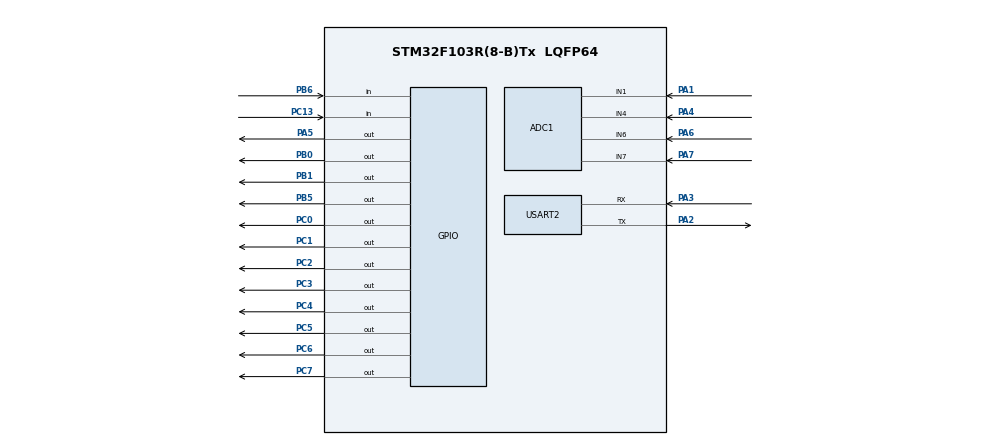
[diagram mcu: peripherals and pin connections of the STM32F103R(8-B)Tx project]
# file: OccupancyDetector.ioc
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ADC1.Channel-20\#ChannelRegularConversion=ADC_CHANNEL_7
ADC1.Channel-21\#ChannelRegularConversion=ADC_CHANNEL_4
ADC1.Channel-23\#ChannelRegularConversion=ADC_CHANNEL_1
ADC1.Channel-24\#ChannelRegularConversion=ADC_CHANNEL_1
ADC1.ContinuousConvMode=ENABLE
ADC1.NbrOfConversion=4
ADC1.NbrOfConversionFlag=1
ADC1.Rank-20\#ChannelRegularConversion=1
ADC1.Rank-21\#ChannelRegularConversion=2
ADC1.Rank-23\#ChannelRegularConversion=3
ADC1.Rank-24\#ChannelRegularConversion=4
ADC1.SamplingTime-20\#ChannelRegularConversion=ADC_SAMPLETIME_1CYCLE_5
ADC1.SamplingTime-21\#ChannelRegularConversion=ADC_SAMPLETIME_1CYCLE_5
ADC1.SamplingTime-23\#ChannelRegularConversion=ADC_SAMPLETIME_1CYCLE_5
ADC1.SamplingTime-24\#ChannelRegularConversion=ADC_SAMPLETIME_1CYCLE_5
ADC1.master=1
FREERTOS.Queues01=structQueue,1,struct DataStruct,0,Dynamic,NULL,NULL;rawQueue,1,struct DataStruct,0,Dynamic,NULL,NULL;roomQueue,1,uint16_t,0,Dynamic,NULL,NULL
FREERTOS.Tasks01=calcTask,24,128,StartCalcTask,Default,NULL,Dynamic,NULL,NULL;sendTask,40,128,StartSendTask,Default,NULL,Dynamic,NULL,NULL;lcdTask,8,128,StartLcdTask,Default,NULL,Dynamic,NULL,NULL
Mcu.Family=STM32F1
Mcu.Name=STM32F103R(8-B)Tx
Mcu.Package=LQFP64
NVIC.PriorityGroup=NVIC_PRIORITYGROUP_4
NVIC.TIM4_IRQn=true\:0\:0\:false\:false\:true\:false\:false\:true
NVIC.TimeBase=TIM4_IRQn
NVIC.TimeBaseIP=TIM4
PA1.Signal=ADCx_IN1
PA13.Mode=Serial_Wire
PA13.Signal=SYS_JTMS-SWDIO
PA14.Mode=Serial_Wire
PA14.Signal=SYS_JTCK-SWCLK
PA2.Mode=Asynchronous
PA2.Signal=USART2_TX
PA3.Mode=Asynchronous
PA3.Signal=USART2_RX
PA4.Signal=ADCx_IN4
PA5.Signal=GPIO_Output
PA6.Signal=ADCx_IN6
PA7.Signal=ADCx_IN7
PB0.Signal=GPIO_Output
PB1.Signal=GPIO_Output
PB5.Signal=GPIO_Output
PB6.Signal=GPIO_Input
PC0.Signal=GPIO_Output
PC1.Signal=GPIO_Output
PC13-TAMPER-RTC.Signal=GPIO_Input
PC2.Signal=GPIO_Output
PC3.Signal=GPIO_Output
PC4.Signal=GPIO_Output
PC5.Signal=GPIO_Output
PC6.Signal=GPIO_Output
PC7.Signal=GPIO_Output
ProjectManager.HeapSize=0x200
ProjectManager.StackSize=0x400
ProjectManager.TargetToolchain=STM32CubeIDE
RCC.APB1Freq_Value=8000000
RCC.APB2Freq_Value=8000000
SH.ADCx_IN1.0=ADC1_IN1,IN1
SH.ADCx_IN4.0=ADC1_IN4,IN4
SH.ADCx_IN6.0=ADC1_IN6,IN6
SH.ADCx_IN7.0=ADC1_IN7,IN7
USART2.VirtualMode=VM_ASYNC
VP_FREERTOS_VS_CMSIS_V2.Mode=CMSIS_V2
VP_SYS_VS_tim4.Mode=TIM4
board=custom

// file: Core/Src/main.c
/* USER CODE BEGIN Header */
/**
  ******************************************************************************
  * @file           : main.c
  * @brief          : Main program body
  * @author			: Daniel Takyi
  * @application	: Room Occupancy Management System
  * @purpose		: Reads various sensor values and sends them formatted in a
  * 				  string to another device. Other features include printind
  * 				  data onto an LCD screen, and user selection control.
  *
  ******************************************************************************
  * @attention
  *
  * <h2><center>&copy; Copyright (c) 2021 STMicroelectronics.
  * All rights reserved.</center></h2>
  *
  * This software component is licensed by ST under Ultimate Liberty license
  * SLA0044, the "License"; You may not use this file except in compliance with
  * the License. You may obtain a copy of the License at:
  *                             www.st.com/SLA0044
  *
  ******************************************************************************
  */
/* USER CODE END Header */
#include "main.h"
#include "cmsis_os.h"

/* USER CODE BEGIN Includes */
#include "stm32f1xx.h"
#include "./usr/lcd.h"
#include "./usr/CommMod.h"
#include "./usr/sensors.h"
#include "./usr/UserInput.h"
#include <stdbool.h>

/* USER CODE END Includes */

ADC_HandleTypeDef hadc1;

UART_HandleTypeDef huart2;

/* Definitions for calcTask */
osThreadId_t calcTaskHandle;
const osThreadAttr_t calcTask_attributes = {
  .name = "calcTask",
  .priority = (osPriority_t) osPriorityNormal,
  .stack_size = 128 * 4
};
/* Definitions for sendTask */
osThreadId_t sendTaskHandle;
const osThreadAttr_t sendTask_attributes = {
  .name = "sendTask",
  .priority = (osPriority_t) osPriorityHigh,
  .stack_size = 128 * 4
};
/* Definitions for lcdTask */
osThreadId_t lcdTaskHandle;
const osThreadAttr_t lcdTask_attributes = {
  .name = "lcdTask",
  .priority = (osPriority_t) osPriorityLow,
  .stack_size = 128 * 4
};
/* Definitions for structQueue */
osMessageQueueId_t structQueueHandle;
const osMessageQueueAttr_t structQueue_attributes = {
  .name = "structQueue"
};
/* Definitions for rawQueue */
osMessageQueueId_t rawQueueHandle;
const osMessageQueueAttr_t rawQueue_attributes = {
  .name = "rawQueue"
};
/* Definitions for roomQueue */
osMessageQueueId_t roomQueueHandle;
const osMessageQueueAttr_t roomQueue_attributes = {
  .name = "roomQueue"
};
/* USER CODE BEGIN PV */
//bool sel = true;
//bool proceed = false;
uint8_t room_str[40];
uint8_t cliBufferRX[20];
/* USER CODE END PV */

void SystemClock_Config(void);
static void MX_GPIO_Init(void);
static void MX_USART2_UART_Init(void);
static void MX_ADC1_Init(void);
void StartCalcTask(void *argument);
void StartSendTask(void *argument);
void StartLcdTask(void *argument);

/* USER CODE BEGIN 0 */
struct DataStruct{
	uint16_t temp;
	uint16_t CO2;
	uint16_t dB;
};
/* USER CODE END 0 */

int main(void)
{

  /* MCU Configuration--------------------------------------------------------*/

  /* Reset of all peripherals, Initializes the Flash interface and the Systick. */
  HAL_Init();

  /* Configure the system clock */
  SystemClock_Config();

  /* Initialize all configured peripherals */
  MX_GPIO_Init();
  MX_USART2_UART_Init();
  MX_ADC1_Init();
  /* USER CODE BEGIN 2 */

  lcd_IO_init();

  lcd_init();

  CMD2LCD(0x01);

  char2LCD("use inputs");
  CMD2LCD(0xC0);
  char2LCD("room size: ");
  POT_Select();
  while(HAL_GPIO_ReadPin(GPIOB, GPIO_PIN_6))
  {
	  CMD2LCD(0xCB);
	  strcpy((char *)room_str, roomSelect(ADC_Read()));
	  char2LCD((char *)room_str);

  }

  CMD2LCD(0x01);

  /* USER CODE END 2 */

  /* Init scheduler */
  osKernelInitialize();

  /* Create the queue(s) */
  /* creation of structQueue */
  structQueueHandle = osMessageQueueNew (1, sizeof(struct DataStruct), &structQueue_attributes);

  /* creation of rawQueue */
  rawQueueHandle = osMessageQueueNew (1, sizeof(struct DataStruct), &rawQueue_attributes);

  /* creation of roomQueue */
  roomQueueHandle = osMessageQueueNew (1, sizeof(uint16_t), &roomQueue_attributes);

  /* Create the thread(s) */
  /* creation of calcTask */
  calcTaskHandle = osThreadNew(StartCalcTask, NULL, &calcTask_attributes);

  /* creation of sendTask */
  sendTaskHandle = osThreadNew(StartSendTask, NULL, &sendTask_attributes);

  /* creation of lcdTask */
  lcdTaskHandle = osThreadNew(StartLcdTask, NULL, &lcdTask_attributes);

  /* Start scheduler */
  osKernelStart();

  /* We should never get here as control is now taken by the scheduler */
  /* Infinite loop */
  while (1)
  {

  }
}

void SystemClock_Config(void)
{
  RCC_OscInitTypeDef RCC_OscInitStruct = {0};
  RCC_ClkInitTypeDef RCC_ClkInitStruct = {0};
  RCC_PeriphCLKInitTypeDef PeriphClkInit = {0};

  /** Initializes the RCC Oscillators according to the specified parameters
  * in the RCC_OscInitTypeDef structure.
  */
  RCC_OscInitStruct.OscillatorType = RCC_OSCILLATORTYPE_HSI;
  RCC_OscInitStruct.HSIState = RCC_HSI_ON;
  RCC_OscInitStruct.HSICalibrationValue = RCC_HSICALIBRATION_DEFAULT;
  RCC_OscInitStruct.PLL.PLLState = RCC_PLL_NONE;
  if (HAL_RCC_OscConfig(&RCC_OscInitStruct) != HAL_OK)
  {
    Error_Handler();
  }
  /** Initializes the CPU, AHB and APB buses clocks
  */
  RCC_ClkInitStruct.ClockType = RCC_CLOCKTYPE_HCLK|RCC_CLOCKTYPE_SYSCLK
                              |RCC_CLOCKTYPE_PCLK1|RCC_CLOCKTYPE_PCLK2;
  RCC_ClkInitStruct.SYSCLKSource = RCC_SYSCLKSOURCE_HSI;
  RCC_ClkInitStruct.AHBCLKDivider = RCC_SYSCLK_DIV1;
  RCC_ClkInitStruct.APB1CLKDivider = RCC_HCLK_DIV1;
  RCC_ClkInitStruct.APB2CLKDivider = RCC_HCLK_DIV1;

  if (HAL_RCC_ClockConfig(&RCC_ClkInitStruct, FLASH_LATENCY_0) != HAL_OK)
  {
    Error_Handler();
  }
  PeriphClkInit.PeriphClockSelection = RCC_PERIPHCLK_ADC;
  PeriphClkInit.AdcClockSelection = RCC_ADCPCLK2_DIV2;
  if (HAL_RCCEx_PeriphCLKConfig(&PeriphClkInit) != HAL_OK)
  {
    Error_Handler();
  }
}

static void MX_ADC1_Init(void)
{

  ADC_ChannelConfTypeDef sConfig = {0};

  /** Common config
  */
  hadc1.Instance = ADC1;
  hadc1.Init.ScanConvMode = ADC_SCAN_ENABLE;
  hadc1.Init.ContinuousConvMode = ENABLE;
  hadc1.Init.DiscontinuousConvMode = DISABLE;
  hadc1.Init.ExternalTrigConv = ADC_SOFTWARE_START;
  hadc1.Init.DataAlign = ADC_DATAALIGN_RIGHT;
  hadc1.Init.NbrOfConversion = 1;
  if (HAL_ADC_Init(&hadc1) != HAL_OK)
  {
    Error_Handler();
  }
//  /** Configure Regular Channel
//  */
//  sConfig.Channel = ADC_CHANNEL_7;
//  sConfig.Rank = ADC_REGULAR_RANK_1;
//  sConfig.SamplingTime = ADC_SAMPLETIME_1CYCLE_5;
//  if (HAL_ADC_ConfigChannel(&hadc1, &sConfig) != HAL_OK)
//  {
//    Error_Handler();
//  }
//  /** Configure Regular Channel
//  */
//  sConfig.Channel = ADC_CHANNEL_4;
//  sConfig.Rank = ADC_REGULAR_RANK_2;
//  if (HAL_ADC_ConfigChannel(&hadc1, &sConfig) != HAL_OK)
//  {
//    Error_Handler();
//  }
//  /** Configure Regular Channel
//  */
//  sConfig.Channel = ADC_CHANNEL_1;
//  sConfig.Rank = ADC_REGULAR_RANK_3;
//  if (HAL_ADC_ConfigChannel(&hadc1, &sConfig) != HAL_OK)
//  {
//    Error_Handler();
//  }
//  /** Configure Regular Channel
//  */
//  sConfig.Rank = ADC_REGULAR_RANK_4;
//  if (HAL_ADC_ConfigChannel(&hadc1, &sConfig) != HAL_OK)
//  {
//    Error_Handler();
//  }

}

static void MX_USART2_UART_Init(void)
{

  huart2.Instance = USART2;
  huart2.Init.BaudRate = 115200;
  huart2.Init.WordLength = UART_WORDLENGTH_8B;
  huart2.Init.StopBits = UART_STOPBITS_1;
  huart2.Init.Parity = UART_PARITY_NONE;
  huart2.Init.Mode = UART_MODE_TX_RX;
  huart2.Init.HwFlowCtl = UART_HWCONTROL_NONE;
  huart2.Init.OverSampling = UART_OVERSAMPLING_16;
  if (HAL_UART_Init(&huart2) != HAL_OK)
  {
    Error_Handler();
  }

}

static void MX_GPIO_Init(void)
{
  GPIO_InitTypeDef GPIO_InitStruct = {0};

  /* GPIO Ports Clock Enable */
  __HAL_RCC_GPIOC_CLK_ENABLE();
  __HAL_RCC_GPIOA_CLK_ENABLE();
  __HAL_RCC_GPIOB_CLK_ENABLE();

  /*Configure GPIO pin Output Level */
  HAL_GPIO_WritePin(GPIOC, GPIO_PIN_0|GPIO_PIN_1|GPIO_PIN_2|GPIO_PIN_3
                          |GPIO_PIN_4|GPIO_PIN_5|GPIO_PIN_6|GPIO_PIN_7, GPIO_PIN_RESET);

  /*Configure GPIO pin Output Level */
  HAL_GPIO_WritePin(GPIOA, GPIO_PIN_5, GPIO_PIN_RESET);

  /*Configure GPIO pin Output Level */
  HAL_GPIO_WritePin(GPIOB, GPIO_PIN_0|GPIO_PIN_1|GPIO_PIN_5, GPIO_PIN_RESET);

  /*Configure GPIO pin : PC13 */
  GPIO_InitStruct.Pin = GPIO_PIN_13;
  GPIO_InitStruct.Mode = GPIO_MODE_INPUT;
  GPIO_InitStruct.Pull = GPIO_NOPULL;
  HAL_GPIO_Init(GPIOC, &GPIO_InitStruct);

  /*Configure GPIO pins : PC0 PC1 PC2 PC3
                           PC4 PC5 PC6 PC7 */
  GPIO_InitStruct.Pin = GPIO_PIN_0|GPIO_PIN_1|GPIO_PIN_2|GPIO_PIN_3
                          |GPIO_PIN_4|GPIO_PIN_5|GPIO_PIN_6|GPIO_PIN_7;
  GPIO_InitStruct.Mode = GPIO_MODE_OUTPUT_PP;
  GPIO_InitStruct.Pull = GPIO_NOPULL;
  GPIO_InitStruct.Speed = GPIO_SPEED_FREQ_LOW;
  HAL_GPIO_Init(GPIOC, &GPIO_InitStruct);

  /*Configure GPIO pin : PA5 */
  GPIO_InitStruct.Pin = GPIO_PIN_5;
  GPIO_InitStruct.Mode = GPIO_MODE_OUTPUT_PP;
  GPIO_InitStruct.Pull = GPIO_NOPULL;
  GPIO_InitStruct.Speed = GPIO_SPEED_FREQ_LOW;
  HAL_GPIO_Init(GPIOA, &GPIO_InitStruct);

  /*Configure GPIO pins : PB0 PB1 PB5 */
  GPIO_InitStruct.Pin = GPIO_PIN_0|GPIO_PIN_1|GPIO_PIN_5;
  GPIO_InitStruct.Mode = GPIO_MODE_OUTPUT_PP;
  GPIO_InitStruct.Pull = GPIO_NOPULL;
  GPIO_InitStruct.Speed = GPIO_SPEED_FREQ_LOW;
  HAL_GPIO_Init(GPIOB, &GPIO_InitStruct);

  /*Configure GPIO pin : PB6 */
  GPIO_InitStruct.Pin = GPIO_PIN_6;
  GPIO_InitStruct.Mode = GPIO_MODE_INPUT;
  GPIO_InitStruct.Pull = GPIO_NOPULL;
  HAL_GPIO_Init(GPIOB, &GPIO_InitStruct);

}

void StartCalcTask(void *argument)
{
  /* USER CODE BEGIN 5 */
	//uint16_t data = 0;
	struct DataStruct dc;
	dc.temp = 0;
	dc.CO2 = 0;
	dc.dB = 0;
	/* Infinite loop */
	for(;;)
	{
		TEMP_Select();
		dc.temp = TempConversion(ADC_Read());

		CO2_Select();
		dc.CO2 = CO2Conversion(ADC_Read());

		NOISE_Select();
		dc.dB = NoiseConversion(ADC_Read());

		if(osMessageQueuePut(rawQueueHandle, &dc, 1U, 0U) != osOK)
		{
			Error_Handler();
		}

		//OccupancyCalculation()

		if(osMessageQueuePut(structQueueHandle, &dc, 1U, 0U) != osOK)
		{
			Error_Handler();
		}

		osDelay(500);
	}
	osThreadTerminate(NULL);
  /* USER CODE END 5 */
}

void StartSendTask(void *argument)
{
  /* USER CODE BEGIN StartSendTask */
	uint8_t data_str[40];
	struct DataStruct dc;
	/* Infinite loop */
	for(;;)
	{
		if(osMessageQueueGet(structQueueHandle, &dc, NULL, 0U) == osOK)
		{
			sprintf((char *)data_str, "%d", dc.temp);
			printString((char *)data_str);
			printString(" ");
			sprintf((char *)data_str, "%d", dc.CO2);
			printString((char *)data_str);
			printString(" ");
			sprintf((char *)data_str, "%d", dc.dB);
			printString((char *)data_str);
			printString(" ");
			printString((char *)room_str);
			printString("\r\n");
		}
		osDelay(5000);
	}
	osThreadTerminate(NULL);
  /* USER CODE END StartSendTask */
}

void StartLcdTask(void *argument)
{
  /* USER CODE BEGIN StartLcdTask */
	uint8_t raw_str[40];
	struct DataStruct rc;
	/* Infinite loop */
	for(;;)
	{
		if(osMessageQueueGet(rawQueueHandle, &rc, NULL, 0U) == osOK)
		{

			CMD2LCD(0x80);
			char2LCD("rs:");
			char2LCD((char *)room_str);

			sprintf((char *)raw_str, "%d", rc.temp);
			CMD2LCD(0x89);
			char2LCD("tmp:");
			char2LCD((char *)raw_str);

			sprintf((char *)raw_str, "%d", rc.CO2);
			CMD2LCD(0xC0);
			char2LCD("co2:");
			char2LCD((char *)raw_str);

			sprintf((char *)raw_str, "%d", rc.dB);
			CMD2LCD(0xC9);
			char2LCD("nl:");
			char2LCD((char *)raw_str);

		}
		osDelay(1);
	}
	osThreadTerminate(NULL);
  /* USER CODE END StartLcdTask */
}

void HAL_TIM_PeriodElapsedCallback(TIM_HandleTypeDef *htim)
{
  if (htim->Instance == TIM4) {
    HAL_IncTick();
  }
}

void Error_Handler(void)
{
}

/************************ (C) COPYRIGHT STMicroelectronics *****END OF FILE****/
